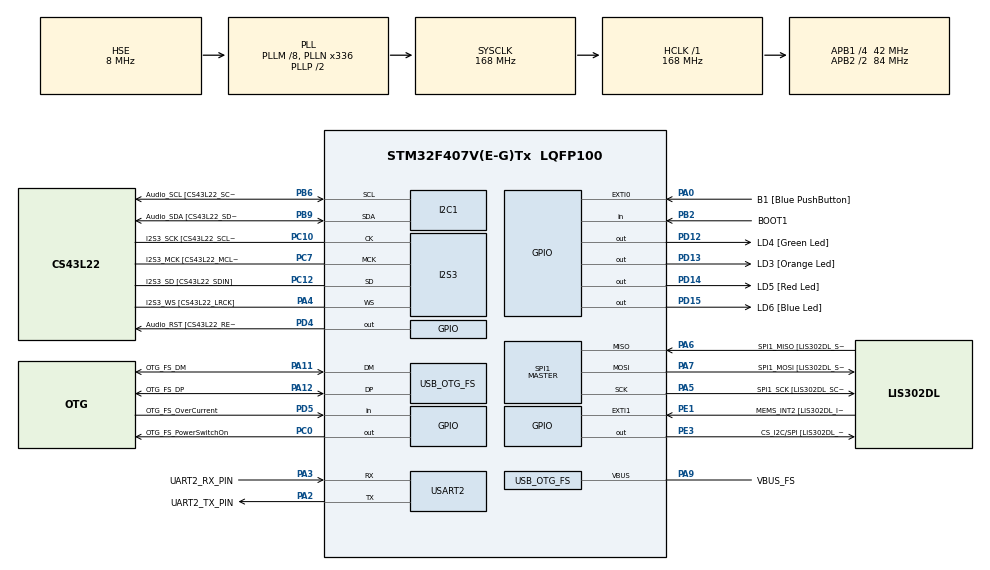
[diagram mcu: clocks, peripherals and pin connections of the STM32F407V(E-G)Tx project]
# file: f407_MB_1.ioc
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FREERTOS.INCLUDE_uxTaskGetStackHighWaterMark2=1
FREERTOS.INCLUDE_xTaskGetHandle=1
FREERTOS.Tasks01=defaultTask,24,512,defaultTaskWorker,Default,NULL,Dynamic,NULL,NULL;HeartBeatTask,8,128,heartBeatTaskWorker,Default,NULL,Dynamic,NULL,NULL
FREERTOS.configCHECK_FOR_STACK_OVERFLOW=2
FREERTOS.configUSE_MALLOC_FAILED_HOOK=1
I2S3.AudioFreq-Half_Duplex_Master=I2S_AUDIOFREQ_96K
I2S3.ErrorAudioFreq=-2.34 %
I2S3.ErrorAudioFreq-Half_Duplex_Master=0.8 %
I2S3.FullDuplexMode=I2S_FULLDUPLEXMODE_DISABLE
I2S3.Instance=SPI$Index
I2S3.RealAudioFreq=93.75 KHz
I2S3.RealAudioFreq-Half_Duplex_Master=96.774 KHz
I2S3.VirtualMode=I2S_MODE_MASTER
Mcu.Family=STM32F4
Mcu.Name=STM32F407V(E-G)Tx
Mcu.Package=LQFP100
NVIC.OTG_FS_IRQn=true\:5\:0\:false\:false\:true\:true\:true\:true\:true
NVIC.PriorityGroup=NVIC_PRIORITYGROUP_4
NVIC.TIM1_UP_TIM10_IRQn=true\:15\:0\:false\:false\:true\:false\:false\:true\:true
NVIC.TimeBase=TIM1_UP_TIM10_IRQn
NVIC.TimeBaseIP=TIM1
NVIC.USART2_IRQn=true\:5\:0\:false\:false\:true\:true\:true\:true\:true
PA0-WKUP.GPIO_Label=B1 [Blue PushButton]
PA0-WKUP.GPIO_ModeDefaultEXTI=GPIO_MODE_EVT_RISING
PA0-WKUP.GPIO_PuPd=GPIO_NOPULL
PA0-WKUP.Signal=GPXTI0
PA10.GPIO_Label=OTG_FS_ID
PA10.GPIO_Mode=GPIO_MODE_AF_PP
PA10.GPIO_PuPd=GPIO_NOPULL
PA10.GPIO_Speed=GPIO_SPEED_FREQ_LOW
PA10.Signal=USB_OTG_FS_ID
PA11.GPIO_Label=OTG_FS_DM
PA11.GPIO_Mode=GPIO_MODE_AF_PP
PA11.GPIO_PuPd=GPIO_NOPULL
PA11.GPIO_Speed=GPIO_SPEED_FREQ_LOW
PA11.Mode=Host_Only
PA11.Signal=USB_OTG_FS_DM
PA12.GPIO_Label=OTG_FS_DP
PA12.GPIO_Mode=GPIO_MODE_AF_PP
PA12.GPIO_PuPd=GPIO_NOPULL
PA12.GPIO_Speed=GPIO_SPEED_FREQ_LOW
PA12.Mode=Host_Only
PA12.Signal=USB_OTG_FS_DP
PA13.GPIO_Label=SWDIO
PA13.Mode=Serial_Wire
PA13.Signal=SYS_JTMS-SWDIO
PA14.GPIO_Label=SWCLK
PA14.Mode=Serial_Wire
PA14.Signal=SYS_JTCK-SWCLK
PA2.GPIO_Label=UART2_TX_PIN
PA2.GPIO_Speed=GPIO_SPEED_FREQ_HIGH
PA2.Mode=Asynchronous
PA2.Signal=USART2_TX
PA3.GPIO_Label=UART2_RX_PIN
PA3.GPIO_Speed=GPIO_SPEED_FREQ_HIGH
PA3.Mode=Asynchronous
PA3.Signal=USART2_RX
PA4.GPIO_Label=I2S3_WS [CS43L22_LRCK]
PA4.GPIO_Mode=GPIO_MODE_AF_PP
PA4.GPIO_PuPd=GPIO_NOPULL
PA4.GPIO_Speed=GPIO_SPEED_FREQ_LOW
PA4.Mode=Half_Duplex_Master
PA4.Signal=I2S3_WS
PA5.GPIO_Label=SPI1_SCK [LIS302DL_SCL/SPC]
PA5.GPIO_Mode=GPIO_MODE_AF_PP
PA5.GPIO_PuPd=GPIO_NOPULL
PA5.GPIO_Speed=GPIO_SPEED_FREQ_LOW
PA5.Mode=Full_Duplex_Master
PA5.Signal=SPI1_SCK
PA6.GPIO_Label=SPI1_MISO [LIS302DL_SDO]
PA6.GPIO_Mode=GPIO_MODE_AF_PP
PA6.GPIO_PuPd=GPIO_NOPULL
PA6.GPIO_Speed=GPIO_SPEED_FREQ_LOW
PA6.Mode=Full_Duplex_Master
PA6.Signal=SPI1_MISO
PA7.GPIO_Label=SPI1_MOSI [LIS302DL_SDA/SDI/SDO]
PA7.GPIO_Mode=GPIO_MODE_AF_PP
PA7.GPIO_PuPd=GPIO_NOPULL
PA7.GPIO_Speed=GPIO_SPEED_FREQ_LOW
PA7.Mode=Full_Duplex_Master
PA7.Signal=SPI1_MOSI
PA9.GPIO_Label=VBUS_FS
PA9.GPIO_Mode=GPIO_MODE_INPUT
PA9.GPIO_PuPd=GPIO_NOPULL
PA9.Mode=Activate_VBUS
PA9.Signal=USB_OTG_FS_VBUS
PB10.GPIO_Label=CLK_IN [MP45DT02_CLK]
PB10.GPIO_Mode=GPIO_MODE_AF_PP
PB10.GPIO_PuPd=GPIO_NOPULL
PB10.GPIO_Speed=GPIO_SPEED_FREQ_LOW
PB10.Signal=I2S2_CK
PB2.GPIO_Label=BOOT1
PB2.GPIO_Mode=GPIO_MODE_INPUT
PB2.GPIO_PuPd=GPIO_NOPULL
PB2.Signal=GPIO_Input
PB3.GPIO_Label=SWO
PB3.Signal=SYS_JTDO-SWO
PB6.GPIO_Label=Audio_SCL [CS43L22_SCL]
PB6.GPIO_Mode=GPIO_MODE_AF_OD
PB6.GPIO_Pu=GPIO_PULLUP
PB6.GPIO_PuPd=GPIO_NOPULL
PB6.GPIO_Speed=GPIO_SPEED_FREQ_LOW
PB6.Mode=I2C
PB6.Signal=I2C1_SCL
PB9.GPIO_Label=Audio_SDA [CS43L22_SDA]
PB9.GPIO_Mode=GPIO_MODE_AF_OD
PB9.GPIO_Pu=GPIO_PULLUP
PB9.GPIO_PuPd=GPIO_NOPULL
PB9.GPIO_Speed=GPIO_SPEED_FREQ_LOW
PB9.Mode=I2C
PB9.Signal=I2C1_SDA
PC0.GPIO_Label=OTG_FS_PowerSwitchOn
PC0.GPIO_PuPd=GPIO_NOPULL
PC0.GPIO_Speed=GPIO_SPEED_FREQ_LOW
PC0.PinState=GPIO_PIN_SET
PC0.Signal=GPIO_Output
PC10.GPIO_Label=I2S3_SCK [CS43L22_SCLK]
PC10.GPIO_Mode=GPIO_MODE_AF_PP
PC10.GPIO_PuPd=GPIO_NOPULL
PC10.GPIO_Speed=GPIO_SPEED_FREQ_LOW
PC10.Mode=Half_Duplex_Master
PC10.Signal=I2S3_CK
PC12.GPIO_Label=I2S3_SD [CS43L22_SDIN]
PC12.GPIO_Mode=GPIO_MODE_AF_PP
PC12.GPIO_PuPd=GPIO_NOPULL
PC12.GPIO_Speed=GPIO_SPEED_FREQ_LOW
PC12.Mode=Half_Duplex_Master
PC12.Signal=I2S3_SD
PC14-OSC32_IN.GPIO_Label=PC14-OSC32_IN
PC14-OSC32_IN.Mode=LSE-External-Oscillator
PC14-OSC32_IN.Signal=RCC_OSC32_IN
PC15-OSC32_OUT.GPIO_Label=PC15-OSC32_OUT
PC15-OSC32_OUT.Mode=LSE-External-Oscillator
PC15-OSC32_OUT.Signal=RCC_OSC32_OUT
PC3.GPIO_Label=PDM_OUT [MP45DT02_DOUT]
PC3.GPIO_Mode=GPIO_MODE_AF_PP
PC3.GPIO_PuPd=GPIO_NOPULL
PC3.GPIO_Speed=GPIO_SPEED_FREQ_LOW
PC3.Signal=I2S2_SD
PC7.GPIO_Label=I2S3_MCK [CS43L22_MCLK]
PC7.GPIO_Mode=GPIO_MODE_AF_PP
PC7.GPIO_PuPd=GPIO_NOPULL
PC7.GPIO_Speed=GPIO_SPEED_FREQ_LOW
PC7.Mode=Master_Clock_Activated
PC7.Signal=I2S3_MCK
PD12.GPIO_Label=LD4 [Green Led]
PD12.GPIO_PuPd=GPIO_NOPULL
PD12.GPIO_Speed=GPIO_SPEED_FREQ_LOW
PD12.Signal=GPIO_Output
PD13.GPIO_Label=LD3 [Orange Led]
PD13.GPIO_PuPd=GPIO_NOPULL
PD13.GPIO_Speed=GPIO_SPEED_FREQ_LOW
PD13.Signal=GPIO_Output
PD14.GPIO_Label=LD5 [Red Led]
PD14.GPIO_PuPd=GPIO_NOPULL
PD14.GPIO_Speed=GPIO_SPEED_FREQ_LOW
PD14.Signal=GPIO_Output
PD15.GPIO_Label=LD6 [Blue Led]
PD15.GPIO_PuPd=GPIO_NOPULL
PD15.GPIO_Speed=GPIO_SPEED_FREQ_LOW
PD15.Signal=GPIO_Output
PD4.GPIO_Label=Audio_RST [CS43L22_RESET]
PD4.GPIO_PuPd=GPIO_NOPULL
PD4.GPIO_Speed=GPIO_SPEED_FREQ_LOW
PD4.Signal=GPIO_Output
PD5.GPIO_Label=OTG_FS_OverCurrent
PD5.GPIO_Mode=GPIO_MODE_INPUT
PD5.GPIO_PuPd=GPIO_NOPULL
PD5.Signal=GPIO_Input
PE1.GPIO_Label=MEMS_INT2 [LIS302DL_INT2]
PE1.GPIO_ModeDefaultEXTI=GPIO_MODE_EVT_RISING
PE1.GPIO_PuPd=GPIO_NOPULL
PE1.Signal=GPXTI1
PE3.GPIO_Label=CS_I2C/SPI [LIS302DL_CS_I2C/SPI]
PE3.GPIO_PuPd=GPIO_NOPULL
PE3.GPIO_Speed=GPIO_SPEED_FREQ_LOW
PE3.Signal=GPIO_Output
PH0-OSC_IN.GPIO_Label=PH0-OSC_IN
PH0-OSC_IN.Mode=HSE-External-Oscillator
PH0-OSC_IN.Signal=RCC_OSC_IN
PH1-OSC_OUT.GPIO_Label=PH1-OSC_OUT
PH1-OSC_OUT.Mode=HSE-External-Oscillator
PH1-OSC_OUT.Signal=RCC_OSC_OUT
ProjectManager.HeapSize=0x200
ProjectManager.StackSize=0x400
ProjectManager.TargetToolchain=STM32CubeIDE
RCC.48MHZClocksFreq_Value=48000000
RCC.AHBFreq_Value=168000000
RCC.APB1CLKDivider=RCC_HCLK_DIV4
RCC.APB1Freq_Value=42000000
RCC.APB1TimFreq_Value=84000000
RCC.APB2CLKDivider=RCC_HCLK_DIV2
RCC.APB2Freq_Value=84000000
RCC.APB2TimFreq_Value=168000000
RCC.CortexFreq_Value=168000000
RCC.HCLKFreq_Value=168000000
RCC.HSE_VALUE=8000000
RCC.HSI_VALUE=16000000
RCC.PLLM=8
RCC.PLLN=336
RCC.PLLQ=7
RCC.SYSCLKFreq_VALUE=168000000
RCC.SYSCLKSource=RCC_SYSCLKSOURCE_PLLCLK
RCC.VCOOutputFreq_Value=336000000
SPI1.BaudRatePrescaler-Full_Duplex_Master=SPI_BAUDRATEPRESCALER_2
SPI1.CalculateBaudRate-Full_Duplex_Master=42.0 MBits/s
SPI1.Direction=SPI_DIRECTION_2LINES
SPI1.Mode=SPI_MODE_MASTER
SPI1.Mode-Full_Duplex_Master=SPI_MODE_MASTER
SPI1.VirtualType=VM_MASTER
USART2.VirtualMode=VM_ASYNC
USB_HOST.BSP.number=1
USB_HOST.USBH_HandleTypeDef-CDC_FS=hUsbHostFS
USB_HOST.USBH_PROCESS_STACK_SIZE-CDC_FS=512
USB_HOST.VirtualModeFS=Cdc
USB_HOST0.BSP.STBoard=false
USB_HOST0.BSP.api=Unknown
USB_HOST0.BSP.instance=PC0
USB_HOST0.BSP.ip=GPIO
USB_HOST0.BSP.mode=Output
USB_HOST0.BSP.name=Drive_VBUS_FS
USB_HOST0.BSP.solution=PC0
USB_OTG_FS.VirtualMode=Host_Only
USB_OTG_FS.phy_itface=HCD_PHY_EMBEDDED
VP_FREERTOS_VS_CMSIS_V2.Mode=CMSIS_V2
VP_SYS_VS_tim1.Mode=TIM1
VP_USB_HOST_VS_USB_HOST_CDC_FS.Mode=CDC_FS
board=STM32F407G-DISC1

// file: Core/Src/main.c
/* USER CODE BEGIN Header */
/**
  ******************************************************************************
  * @file           : main.c
  * @brief          : Main program body
  ******************************************************************************
  * @attention
  *
  * Copyright (c) 2025 STMicroelectronics.
  * All rights reserved.
  *
  * This software is licensed under terms that can be found in the LICENSE file
  * in the root directory of this software component.
  * If no LICENSE file comes with this software, it is provided AS-IS.
  *
  ******************************************************************************
  */
/* USER CODE END Header */
#include "main.h"
#include "cmsis_os.h"
#include "usb_host.h"

I2C_HandleTypeDef hi2c1;

I2S_HandleTypeDef hi2s3;

SPI_HandleTypeDef hspi1;

UART_HandleTypeDef huart2;

/* Definitions for defaultTask */
osThreadId_t defaultTaskHandle;
const osThreadAttr_t defaultTask_attributes = {
  .name = "defaultTask",
  .stack_size = 512 * 4,
  .priority = (osPriority_t) osPriorityNormal,
};
/* Definitions for HeartBeatTask */
osThreadId_t HeartBeatTaskHandle;
const osThreadAttr_t HeartBeatTask_attributes = {
  .name = "HeartBeatTask",
  .stack_size = 128 * 4,
  .priority = (osPriority_t) osPriorityLow,
};
/* USER CODE BEGIN PV */

modbusHandler_t ModbusH;
uint16_t ModbusDATARX[8];
//uint16_t ModbusDATATX[8];

/* USER CODE END PV */

void SystemClock_Config(void);
static void MX_GPIO_Init(void);
static void MX_I2C1_Init(void);
static void MX_I2S3_Init(void);
static void MX_SPI1_Init(void);
static void MX_USART2_UART_Init(void);
void defaultTaskWorker(void *argument);
void heartBeatTaskWorker(void *argument);

/* USER CODE BEGIN 0 */
uint32_t Counter = 0;
/* USER CODE END 0 */

int main(void)
{

  /* MCU Configuration--------------------------------------------------------*/

  /* Reset of all peripherals, Initializes the Flash interface and the Systick. */
  HAL_Init();

  /* Configure the system clock */
  SystemClock_Config();

  /* Initialize all configured peripherals */
  MX_GPIO_Init();
  MX_I2C1_Init();
  MX_I2S3_Init();
  MX_SPI1_Init();
  MX_USART2_UART_Init();
  /* USER CODE BEGIN 2 */

  /* Modbus Slave initialization */
	ModbusH.uModbusType = MB_SLAVE; // or use MB_MASTER
	ModbusH.port 		= &huart2; 	// This is the UART port connected to FTDI on ShieldBoard
	ModbusH.u8id 		= 1; 		// Slave ID
	ModbusH.u16timeOut 	= 1000;		// for Master only??
	ModbusH.EN_Port 	= NULL; 	// No RS485
    //ModbusH2.EN_Port = LD2_GPIO_Port; 	// RS485 Enable
    //ModbusH2.EN_Pin = LD2_Pin; 			// RS485 Enable
    ModbusH.u16regs = ModbusDATARX;
    ModbusH.u16regsize= sizeof(ModbusDATARX)/sizeof(ModbusDATARX[0]);
    ModbusH.xTypeHW = USART_HW;
     //Initialize Modbus library
    DEBUG_PRINT("Going to start ModbusInit...");
    ModbusInit(&ModbusH);
    //Start capturing traffic on serial Port
    DEBUG_PRINT("Going to capture traffic on serial port...");
    ModbusStart(&ModbusH);
  /* USER CODE END 2 */

  /* Init scheduler */
  osKernelInitialize();

  /* Create the thread(s) */
  /* creation of defaultTask */
  defaultTaskHandle = osThreadNew(defaultTaskWorker, NULL, &defaultTask_attributes);

  /* creation of HeartBeatTask */
  HeartBeatTaskHandle = osThreadNew(heartBeatTaskWorker, NULL, &HeartBeatTask_attributes);

  /* Start scheduler */
  osKernelStart();

  /* We should never get here as control is now taken by the scheduler */

  /* Infinite loop */
  while (1)
  {

  }
}

void SystemClock_Config(void)
{
  RCC_OscInitTypeDef RCC_OscInitStruct = {0};
  RCC_ClkInitTypeDef RCC_ClkInitStruct = {0};

  /** Configure the main internal regulator output voltage
  */
  __HAL_RCC_PWR_CLK_ENABLE();
  __HAL_PWR_VOLTAGESCALING_CONFIG(PWR_REGULATOR_VOLTAGE_SCALE1);

  /** Initializes the RCC Oscillators according to the specified parameters
  * in the RCC_OscInitTypeDef structure.
  */
  RCC_OscInitStruct.OscillatorType = RCC_OSCILLATORTYPE_HSE;
  RCC_OscInitStruct.HSEState = RCC_HSE_ON;
  RCC_OscInitStruct.PLL.PLLState = RCC_PLL_ON;
  RCC_OscInitStruct.PLL.PLLSource = RCC_PLLSOURCE_HSE;
  RCC_OscInitStruct.PLL.PLLM = 8;
  RCC_OscInitStruct.PLL.PLLN = 336;
  RCC_OscInitStruct.PLL.PLLP = RCC_PLLP_DIV2;
  RCC_OscInitStruct.PLL.PLLQ = 7;
  if (HAL_RCC_OscConfig(&RCC_OscInitStruct) != HAL_OK)
  {
    Error_Handler();
  }

  /** Initializes the CPU, AHB and APB buses clocks
  */
  RCC_ClkInitStruct.ClockType = RCC_CLOCKTYPE_HCLK|RCC_CLOCKTYPE_SYSCLK
                              |RCC_CLOCKTYPE_PCLK1|RCC_CLOCKTYPE_PCLK2;
  RCC_ClkInitStruct.SYSCLKSource = RCC_SYSCLKSOURCE_PLLCLK;
  RCC_ClkInitStruct.AHBCLKDivider = RCC_SYSCLK_DIV1;
  RCC_ClkInitStruct.APB1CLKDivider = RCC_HCLK_DIV4;
  RCC_ClkInitStruct.APB2CLKDivider = RCC_HCLK_DIV2;

  if (HAL_RCC_ClockConfig(&RCC_ClkInitStruct, FLASH_LATENCY_5) != HAL_OK)
  {
    Error_Handler();
  }
}

static void MX_I2C1_Init(void)
{

  hi2c1.Instance = I2C1;
  hi2c1.Init.ClockSpeed = 100000;
  hi2c1.Init.DutyCycle = I2C_DUTYCYCLE_2;
  hi2c1.Init.OwnAddress1 = 0;
  hi2c1.Init.AddressingMode = I2C_ADDRESSINGMODE_7BIT;
  hi2c1.Init.DualAddressMode = I2C_DUALADDRESS_DISABLE;
  hi2c1.Init.OwnAddress2 = 0;
  hi2c1.Init.GeneralCallMode = I2C_GENERALCALL_DISABLE;
  hi2c1.Init.NoStretchMode = I2C_NOSTRETCH_DISABLE;
  if (HAL_I2C_Init(&hi2c1) != HAL_OK)
  {
    Error_Handler();
  }

}

static void MX_I2S3_Init(void)
{

  hi2s3.Instance = SPI3;
  hi2s3.Init.Mode = I2S_MODE_MASTER_TX;
  hi2s3.Init.Standard = I2S_STANDARD_PHILIPS;
  hi2s3.Init.DataFormat = I2S_DATAFORMAT_16B;
  hi2s3.Init.MCLKOutput = I2S_MCLKOUTPUT_ENABLE;
  hi2s3.Init.AudioFreq = I2S_AUDIOFREQ_96K;
  hi2s3.Init.CPOL = I2S_CPOL_LOW;
  hi2s3.Init.ClockSource = I2S_CLOCK_PLL;
  hi2s3.Init.FullDuplexMode = I2S_FULLDUPLEXMODE_DISABLE;
  if (HAL_I2S_Init(&hi2s3) != HAL_OK)
  {
    Error_Handler();
  }

}

static void MX_SPI1_Init(void)
{

  /* SPI1 parameter configuration*/
  hspi1.Instance = SPI1;
  hspi1.Init.Mode = SPI_MODE_MASTER;
  hspi1.Init.Direction = SPI_DIRECTION_2LINES;
  hspi1.Init.DataSize = SPI_DATASIZE_8BIT;
  hspi1.Init.CLKPolarity = SPI_POLARITY_LOW;
  hspi1.Init.CLKPhase = SPI_PHASE_1EDGE;
  hspi1.Init.NSS = SPI_NSS_SOFT;
  hspi1.Init.BaudRatePrescaler = SPI_BAUDRATEPRESCALER_2;
  hspi1.Init.FirstBit = SPI_FIRSTBIT_MSB;
  hspi1.Init.TIMode = SPI_TIMODE_DISABLE;
  hspi1.Init.CRCCalculation = SPI_CRCCALCULATION_DISABLE;
  hspi1.Init.CRCPolynomial = 10;
  if (HAL_SPI_Init(&hspi1) != HAL_OK)
  {
    Error_Handler();
  }

}

static void MX_USART2_UART_Init(void)
{

  huart2.Instance = USART2;
  huart2.Init.BaudRate = 115200;
  huart2.Init.WordLength = UART_WORDLENGTH_8B;
  huart2.Init.StopBits = UART_STOPBITS_1;
  huart2.Init.Parity = UART_PARITY_NONE;
  huart2.Init.Mode = UART_MODE_TX_RX;
  huart2.Init.HwFlowCtl = UART_HWCONTROL_NONE;
  huart2.Init.OverSampling = UART_OVERSAMPLING_16;
  if (HAL_UART_Init(&huart2) != HAL_OK)
  {
    Error_Handler();
  }

}

static void MX_GPIO_Init(void)
{
  GPIO_InitTypeDef GPIO_InitStruct = {0};

  /* GPIO Ports Clock Enable */
  __HAL_RCC_GPIOE_CLK_ENABLE();
  __HAL_RCC_GPIOC_CLK_ENABLE();
  __HAL_RCC_GPIOH_CLK_ENABLE();
  __HAL_RCC_GPIOA_CLK_ENABLE();
  __HAL_RCC_GPIOB_CLK_ENABLE();
  __HAL_RCC_GPIOD_CLK_ENABLE();

  /*Configure GPIO pin Output Level */
  HAL_GPIO_WritePin(CS_I2C_SPI_GPIO_Port, CS_I2C_SPI_Pin, GPIO_PIN_RESET);

  /*Configure GPIO pin Output Level */
  HAL_GPIO_WritePin(OTG_FS_PowerSwitchOn_GPIO_Port, OTG_FS_PowerSwitchOn_Pin, GPIO_PIN_SET);

  /*Configure GPIO pin Output Level */
  HAL_GPIO_WritePin(GPIOD, LD4_Pin|LD3_Pin|LD5_Pin|LD6_Pin
                          |Audio_RST_Pin, GPIO_PIN_RESET);

  /*Configure GPIO pin : CS_I2C_SPI_Pin */
  GPIO_InitStruct.Pin = CS_I2C_SPI_Pin;
  GPIO_InitStruct.Mode = GPIO_MODE_OUTPUT_PP;
  GPIO_InitStruct.Pull = GPIO_NOPULL;
  GPIO_InitStruct.Speed = GPIO_SPEED_FREQ_LOW;
  HAL_GPIO_Init(CS_I2C_SPI_GPIO_Port, &GPIO_InitStruct);

  /*Configure GPIO pin : OTG_FS_PowerSwitchOn_Pin */
  GPIO_InitStruct.Pin = OTG_FS_PowerSwitchOn_Pin;
  GPIO_InitStruct.Mode = GPIO_MODE_OUTPUT_PP;
  GPIO_InitStruct.Pull = GPIO_NOPULL;
  GPIO_InitStruct.Speed = GPIO_SPEED_FREQ_LOW;
  HAL_GPIO_Init(OTG_FS_PowerSwitchOn_GPIO_Port, &GPIO_InitStruct);

  /*Configure GPIO pin : PDM_OUT_Pin */
  GPIO_InitStruct.Pin = PDM_OUT_Pin;
  GPIO_InitStruct.Mode = GPIO_MODE_AF_PP;
  GPIO_InitStruct.Pull = GPIO_NOPULL;
  GPIO_InitStruct.Speed = GPIO_SPEED_FREQ_LOW;
  GPIO_InitStruct.Alternate = GPIO_AF5_SPI2;
  HAL_GPIO_Init(PDM_OUT_GPIO_Port, &GPIO_InitStruct);

  /*Configure GPIO pin : B1_Pin */
  GPIO_InitStruct.Pin = B1_Pin;
  GPIO_InitStruct.Mode = GPIO_MODE_EVT_RISING;
  GPIO_InitStruct.Pull = GPIO_NOPULL;
  HAL_GPIO_Init(B1_GPIO_Port, &GPIO_InitStruct);

  /*Configure GPIO pin : BOOT1_Pin */
  GPIO_InitStruct.Pin = BOOT1_Pin;
  GPIO_InitStruct.Mode = GPIO_MODE_INPUT;
  GPIO_InitStruct.Pull = GPIO_NOPULL;
  HAL_GPIO_Init(BOOT1_GPIO_Port, &GPIO_InitStruct);

  /*Configure GPIO pin : CLK_IN_Pin */
  GPIO_InitStruct.Pin = CLK_IN_Pin;
  GPIO_InitStruct.Mode = GPIO_MODE_AF_PP;
  GPIO_InitStruct.Pull = GPIO_NOPULL;
  GPIO_InitStruct.Speed = GPIO_SPEED_FREQ_LOW;
  GPIO_InitStruct.Alternate = GPIO_AF5_SPI2;
  HAL_GPIO_Init(CLK_IN_GPIO_Port, &GPIO_InitStruct);

  /*Configure GPIO pins : LD4_Pin LD3_Pin LD5_Pin LD6_Pin
                           Audio_RST_Pin */
  GPIO_InitStruct.Pin = LD4_Pin|LD3_Pin|LD5_Pin|LD6_Pin
                          |Audio_RST_Pin;
  GPIO_InitStruct.Mode = GPIO_MODE_OUTPUT_PP;
  GPIO_InitStruct.Pull = GPIO_NOPULL;
  GPIO_InitStruct.Speed = GPIO_SPEED_FREQ_LOW;
  HAL_GPIO_Init(GPIOD, &GPIO_InitStruct);

  /*Configure GPIO pin : OTG_FS_OverCurrent_Pin */
  GPIO_InitStruct.Pin = OTG_FS_OverCurrent_Pin;
  GPIO_InitStruct.Mode = GPIO_MODE_INPUT;
  GPIO_InitStruct.Pull = GPIO_NOPULL;
  HAL_GPIO_Init(OTG_FS_OverCurrent_GPIO_Port, &GPIO_InitStruct);

  /*Configure GPIO pin : MEMS_INT2_Pin */
  GPIO_InitStruct.Pin = MEMS_INT2_Pin;
  GPIO_InitStruct.Mode = GPIO_MODE_EVT_RISING;
  GPIO_InitStruct.Pull = GPIO_NOPULL;
  HAL_GPIO_Init(MEMS_INT2_GPIO_Port, &GPIO_InitStruct);

}

void defaultTaskWorker(void *argument)
{
  /* init code for USB_HOST */
  MX_USB_HOST_Init();
  /* USER CODE BEGIN 5 */

  /* Infinite loop */
  for(;;)
  {
	  HAL_GPIO_TogglePin(LD4_GPIO_Port, LD4_Pin);

	  Counter++;

	  DebugPrintfItm("counter = %lu\r\n", Counter); // visible in Debug session only via SWO
	  //printf("PRINTF counter = %lu\r\n", Counter);
	  //DEBUG_PRINT("DEBUG PRINTF counter = %lu\r\n", Counter);

	  //const uint8_t message[] = "Hello UART2!\r\n";
	  //uint16_t msgSize = strlen((char *)message);
	  //HAL_UART_Transmit(&huart2, message, msgSize, 100);

	  // check if COIL 0 is set
	  if(ModbusDATARX[0] & 0x01)
	  {
		  HAL_GPIO_WritePin(LD6_GPIO_Port, LD6_Pin, GPIO_PIN_SET);
	  }
	  else
	  {
		  HAL_GPIO_WritePin(LD6_GPIO_Port, LD6_Pin, GPIO_PIN_RESET);
	  }

	  osDelay(DEFAULT_TASK_PERIOD_MS);
  }
  /* USER CODE END 5 */
}

void heartBeatTaskWorker(void *argument)
{
  /* USER CODE BEGIN heartBeatTaskWorker */
  /* Infinite loop */
  for(;;)
  {
	  HAL_GPIO_TogglePin(LD5_GPIO_Port, LD5_Pin);
	  osDelay(HEART_BEAT_PERIOD_MS);
  }
  /* USER CODE END heartBeatTaskWorker */
}

void HAL_TIM_PeriodElapsedCallback(TIM_HandleTypeDef *htim)
{
  if (htim->Instance == TIM1) {
    HAL_IncTick();
  }
}

void Error_Handler(void)
{
  __disable_irq();
  while (1)
  {
  }
}

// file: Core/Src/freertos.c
/* USER CODE BEGIN Header */
/**
  ******************************************************************************
  * File Name          : freertos.c
  * Description        : Code for freertos applications
  ******************************************************************************
  * @attention
  *
  * Copyright (c) 2025 STMicroelectronics.
  * All rights reserved.
  *
  * This software is licensed under terms that can be found in the LICENSE file
  * in the root directory of this software component.
  * If no LICENSE file comes with this software, it is provided AS-IS.
  *
  ******************************************************************************
  */
/* USER CODE END Header */

#include "FreeRTOS.h"
#include "task.h"
#include "main.h"

/* Hook prototypes */
void vApplicationStackOverflowHook(xTaskHandle xTask, signed char *pcTaskName);
void vApplicationMallocFailedHook(void);

/* USER CODE BEGIN 4 */
void vApplicationStackOverflowHook(xTaskHandle xTask, signed char *pcTaskName)
{
   /* Run time stack overflow checking is performed if
   configCHECK_FOR_STACK_OVERFLOW is defined to 1 or 2. This hook function is
   called if a stack overflow is detected. */
	while(1)
	{

	}
}
/* USER CODE END 4 */

/* USER CODE BEGIN 5 */
void vApplicationMallocFailedHook(void)
{
   /* vApplicationMallocFailedHook() will only be called if
   configUSE_MALLOC_FAILED_HOOK is set to 1 in FreeRTOSConfig.h. It is a hook
   function that will get called if a call to pvPortMalloc() fails.
   pvPortMalloc() is called internally by the kernel whenever a task, queue,
   timer or semaphore is created. It is also called by various parts of the
   demo application. If heap_1.c or heap_2.c are used, then the size of the
   heap available to pvPortMalloc() is defined by configTOTAL_HEAP_SIZE in
   FreeRTOSConfig.h, and the xPortGetFreeHeapSize() API function can be used
   to query the size of free heap space that remains (although it does not
   provide information on how the remaining heap might be fragmented). */
	while(1)
	{

	}
}
/* USER CODE END 5 */
